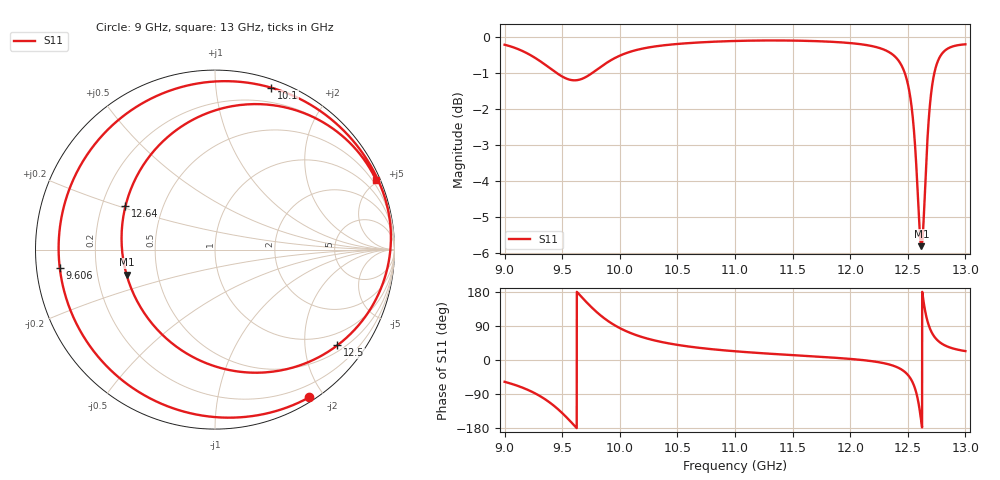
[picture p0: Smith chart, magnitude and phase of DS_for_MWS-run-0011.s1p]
! TOUCHSTONE file generated by CST DESIGN STUDIO
! Date and time: Tue Feb  4 18:45:20 2025
! Project name: C:\Work\MatlabApps\UnitCellOptimizationMatlab\CST\unitcell.cst
! Tree item: Tasks\Sweep1\SPara1\S-Parameters
! Header version: 2024
! Port assignment regex: !\s*Touchstone port\s*([0-9]+)\s*=\s*(CST MWS port|CST DES external port|CST DES block port)\s*(.+)\s* \(\"(.*)\"\)(\s*mode\s*([0-9]+))?.*
! Touchstone port assignment:
! Touchstone port 1 = CST DES external port 1 ("")
# GHz S MA R 50
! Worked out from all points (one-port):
!   4001 points, 9 GHz to 13 GHz, reference 50 ohm
!   lowest |S11| = -5.8 dB at 12.62 GHz (marker M1), VSWR 3.10, Z = 16.4 - j6.2 ohm
!   |S11| at or under -10 dB: nowhere
!   S11 on the Smith chart (normalised r, x): 9 GHz: 0.05, -1.82; 9.606 GHz: 0.07, -0.06; 10.1 GHz: 0.07, +1.41; 12.5 GHz: 0.65, -2.76; 12.64 GHz: 0.30, +0.21; 13 GHz: 0.27, +4.79
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9  0.976 -57.5
9.31  0.9257 -95.7
9.41  0.9014 -116.4
9.5  0.8816 -140.0
9.606  0.8709 -173.2
9.695  0.8785 157.6
9.803  0.9017 125.5
9.893  0.9226 103.9
10  0.9425 84.2
10.097  0.9551 70.8
10.5  0.9784 39.9
11  0.9879 23.1
11.5  0.9891 12.9
12  0.9812 2.9
12.358  0.9486 -13.5
12.497  0.8656 -38.0
12.5  0.8615 -39.1
12.538  0.7877 -56.5
12.572  0.6706 -84.6
12.595  0.5688 -116.9
12.618  0.5122 -164.2
12.637  0.5546 154.1
12.662  0.6793 113.1
12.686  0.7842 88.0
12.724  0.8812 64.4
12.768  0.9317 49.2
12.855  0.9657 34.2
13  0.9774 23.5
